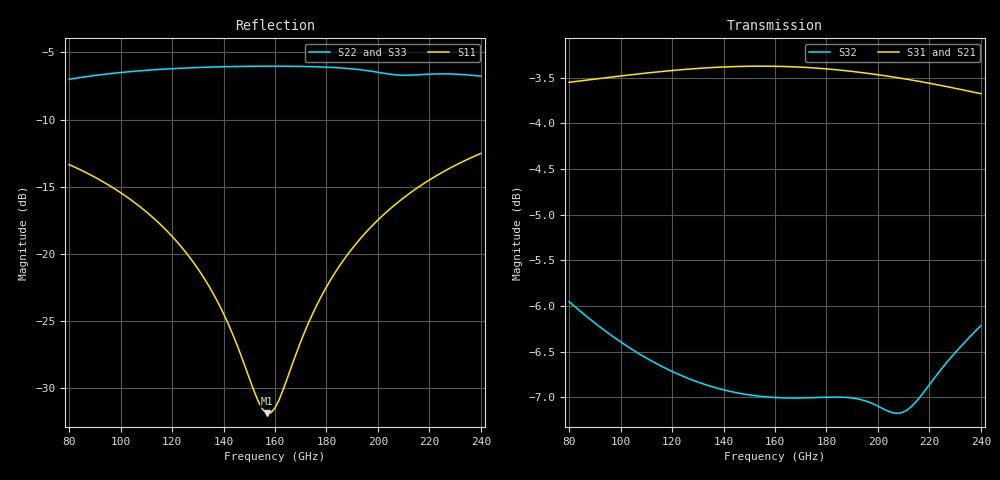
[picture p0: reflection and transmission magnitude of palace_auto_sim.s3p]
#  GHZ S DB R 50
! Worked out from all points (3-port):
!   101 points, 80 GHz to 240 GHz, reference 50 ohm
!   strongest paths, dB at 80 GHz, 120 GHz, 160 GHz, 200 GHz, 240 GHz:
!     S31: -3.5, -3.4, -3.4, -3.5, -3.7
!     S21: -3.6, -3.4, -3.4, -3.5, -3.7
!     S32: -6.0, -6.7, -7.0, -7.1, -6.2
!   lowest |S11| = -31.9 dB at 156.8 GHz (marker M1), VSWR 1.05, Z = 52.6 + j0.209 ohm
!   |S11| at or under -10 dB: start of sweep to end of sweep
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80  -13.36 129.5  -3.55 -44.5  -3.55 -44.4
    -3.55 -44.5  -7.00 49.0  -5.95 -98.9
    -3.55 -44.4  -5.95 -98.9  -7.01 49.0
105.6  -16.21 111.7  -3.47 -59.1  -3.46 -59.1
       -3.47 -59.1  -6.40 28.5  -6.49 -125.9
       -3.46 -59.1  -6.49 -125.9  -6.41 28.5
124.8  -19.77 95.3  -3.42 -70.4  -3.41 -70.4
       -3.42 -70.4  -6.17 15.5  -6.77 -145.6
       -3.41 -70.4  -6.77 -145.6  -6.18 15.5
139.2  -24.15 76.7  -3.39 -78.9  -3.38 -78.9
       -3.39 -78.9  -6.07 6.6  -6.91 -160.1
       -3.38 -78.9  -6.91 -160.1  -6.09 6.5
156.8  -31.89 4.5  -3.38 -89.4  -3.37 -89.4
       -3.38 -89.4  -6.02 -3.9  -6.99 -177.9
       -3.37 -89.4  -6.99 -177.9  -6.04 -3.9
160  -31.49 -19.6  -3.38 -91.3  -3.37 -91.3
     -3.38 -91.3  -6.02 -5.8  -7.00 178.8
     -3.37 -91.3  -7.00 178.8  -6.04 -5.8
176  -23.92 -78.2  -3.40 -100.9  -3.39 -100.9
     -3.40 -100.9  -6.07 -15.3  -7.00 162.4
     -3.39 -100.9  -7.00 162.4  -6.09 -15.3
190.4  -19.51 -96.6  -3.44 -109.5  -3.43 -109.5
       -3.44 -109.5  -6.23 -24.2  -7.01 147.3
       -3.43 -109.5  -7.01 147.3  -6.25 -24.2
212.8  -15.43 -115.4  -3.53 -122.8  -3.52 -122.8
       -3.53 -122.8  -6.69 -35.6  -7.11 126.5
       -3.52 -122.8  -7.11 126.5  -6.71 -35.7
240  -12.53 -134.0  -3.69 -138.5  -3.68 -138.6
     -3.69 -138.5  -6.77 -55.6  -6.21 98.5
     -3.68 -138.6  -6.21 98.5  -6.80 -55.6
